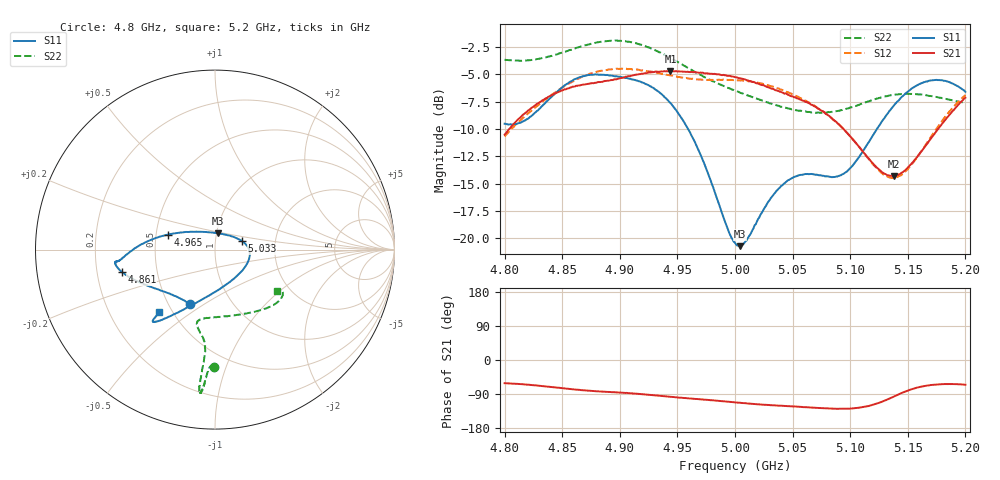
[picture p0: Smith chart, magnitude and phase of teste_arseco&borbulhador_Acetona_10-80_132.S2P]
! Network Analyzer HP8722D
! Hewlett-Packard
! Data name: Linha & Wilkinson
! Saver's name: Rodrigo Anjos
! Comments: Teste da utilização de aquisição
! continua pelo VNA HP8722D
! Time and date: 17/4/2025 15:27
!  Frequency  S11  S21  S12  S22
# HZ  S  MA R 50
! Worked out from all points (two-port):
!   401 points, 4.8 GHz to 5.2 GHz, reference 50 ohm
!   highest |S21| = -4.69 dB at 4.944 GHz (marker M1); lowest = -14.3 dB at 5.138 GHz (marker M2)
!   |S21| within 3 dB of the highest: 4.828 GHz to 5.065 GHz (236.8 MHz wide, 4.79 % of centre); 5.194628 GHz to end of sweep
!   lowest |S11| = -20.7 dB at 5.004 GHz (marker M3), VSWR 1.20, Z = 50.6 + j9.27 ohm
!   |S11| at or under -10 dB: 4.959 GHz to 5.123 GHz (163.9 MHz wide, 3.25 % of centre)
!   |S22| runs from -8.5 to -1.9 dB; largest |S21 - S12| = 0.88
!   S11 on the Smith chart (normalised r, x): 4.8 GHz: 0.64, -0.44; 4.861 GHz: 0.31, -0.11; 4.965 GHz: 0.58, +0.10; 5.033 GHz: 1.34, +0.13; 5.2 GHz: 0.42, -0.38
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4.8e9  0.3344 -114.5  0.298 -61.2  0.2923 -175.5  0.6565 -90.5
4.819e9  0.35 -134.6  0.3776 -64.8  0.3666 -174.4  0.6509 -92.1
4.861e9  0.535 -166.6  0.4949 -77.9  0.5287 -177.7  0.7386 -94.4
4.867e9  0.5486 -168.9  0.5034 -79.5  0.5475 -178.9  0.7567 -94.6
4.899e9  0.5486 -173.2  0.5375 -85.9  0.5954 174.6  0.7998 -96.0
4.934e9  0.4672 -179.1  0.5774 -94.2  0.5704 171.4  0.7101 -96.4
4.944e9  0.4159 176.3  0.5831 -97.1  0.5562 171.3  0.6692 -96.1
4.965e9  0.2768 162.5  0.5757 -102.6  0.5344 173.1  0.5779 -95.5
4.994e9  0.1093 116.3  0.5536 -110.0  0.5293 175.2  0.4878 -98.4
5e9  0.09527 96.6  0.5466 -111.8  0.5306 175.4  0.4731 -99.5
5.004e9  0.092 81.2  0.5399 -112.7  0.5278 175.4  0.4645 -100.5
5.012e9  0.1019 55.0  0.525 -114.9  0.5224 175.2  0.4481 -102.2
5.033e9  0.1572 17.7  0.4827 -119.5  0.4933 174.1  0.4104 -103.7
5.049e9  0.1877 1.8  0.4465 -122.1  0.4587 173.4  0.389 -99.5
5.067e9  0.1967 -17.4  0.4078 -125.5  0.4102 173.0  0.3769 -90.0
5.096e9  0.2003 -68.1  0.3089 -128.7  0.3083 174.4  0.3904 -67.2
5.122e9  0.3088 -108.6  0.2138 -116.2  0.2119 -170.7  0.4336 -49.1
5.134e9  0.382 -118.2  0.1936 -101.9  0.1898 -154.7  0.4496 -43.1
5.138e9  0.4058 -120.4  0.1923 -96.1  0.1893 -148.2  0.4528 -41.4
5.151e9  0.473 -125.9  0.213 -79.6  0.2105 -129.0  0.4583 -36.7
5.17e9  0.5274 -130.1  0.2852 -66.0  0.2907 -112.3  0.4476 -32.4
5.2e9  0.4677 -131.5  0.4395 -65.2  0.4521 -107.3  0.4164 -33.9
